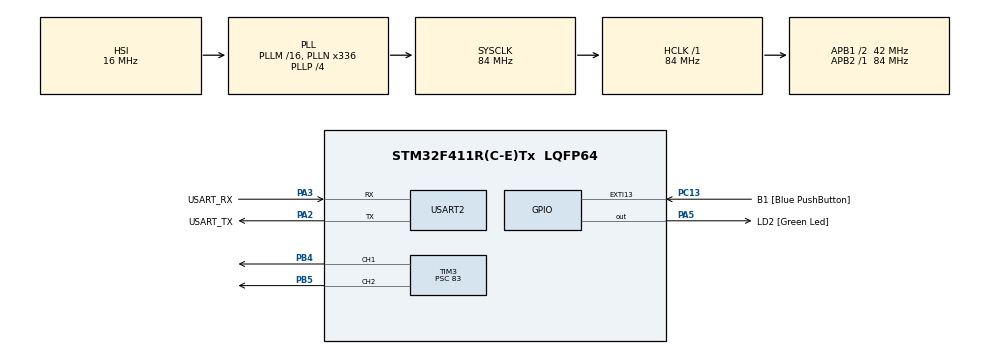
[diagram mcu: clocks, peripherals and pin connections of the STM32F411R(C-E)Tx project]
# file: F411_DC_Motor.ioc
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Mcu.Family=STM32F4
Mcu.Name=STM32F411R(C-E)Tx
Mcu.Package=LQFP64
NVIC.PriorityGroup=NVIC_PRIORITYGROUP_0
PA13.GPIO_Label=TMS
PA13.Mode=Serial_Wire
PA13.Signal=SYS_JTMS-SWDIO
PA14.GPIO_Label=TCK
PA14.Mode=Serial_Wire
PA14.Signal=SYS_JTCK-SWCLK
PA2.GPIO_Label=USART_TX
PA2.Mode=Asynchronous
PA2.Signal=USART2_TX
PA3.GPIO_Label=USART_RX
PA3.Mode=Asynchronous
PA3.Signal=USART2_RX
PA5.GPIO_Label=LD2 [Green Led]
PA5.Signal=GPIO_Output
PB3.GPIO_Label=SWO
PB3.Signal=SYS_JTDO-SWO
PB4.Signal=S_TIM3_CH1
PB5.Signal=S_TIM3_CH2
PC13-ANTI_TAMP.GPIO_Label=B1 [Blue PushButton]
PC13-ANTI_TAMP.GPIO_ModeDefaultEXTI=GPIO_MODE_IT_FALLING
PC13-ANTI_TAMP.Signal=GPXTI13
PC14-OSC32_IN.Mode=LSE-External-Oscillator
PC14-OSC32_IN.Signal=RCC_OSC32_IN
PC15-OSC32_OUT.Mode=LSE-External-Oscillator
PC15-OSC32_OUT.Signal=RCC_OSC32_OUT
PH0\ -\ OSC_IN.Mode=HSE-External-Clock-Source
PH0\ -\ OSC_IN.Signal=RCC_OSC_IN
PH1\ -\ OSC_OUT.Mode=HSE-External-Clock-Source
PH1\ -\ OSC_OUT.Signal=RCC_OSC_OUT
ProjectManager.HeapSize=0x200
ProjectManager.StackSize=0x400
ProjectManager.TargetToolchain=STM32CubeIDE
RCC.48MHZClocksFreq_Value=84000000
RCC.AHBFreq_Value=84000000
RCC.APB1CLKDivider=RCC_HCLK_DIV2
RCC.APB1Freq_Value=42000000
RCC.APB1TimFreq_Value=84000000
RCC.APB2Freq_Value=84000000
RCC.APB2TimFreq_Value=84000000
RCC.CortexFreq_Value=84000000
RCC.FLatency-AdvancedSettings=FLASH_LATENCY_2
RCC.HCLKFreq_Value=84000000
RCC.HSE_VALUE=8000000
RCC.HSI_VALUE=16000000
RCC.PLLN=336
RCC.PLLP=RCC_PLLP_DIV4
RCC.SYSCLKFreq_VALUE=84000000
RCC.SYSCLKSource=RCC_SYSCLKSOURCE_PLLCLK
RCC.VCOOutputFreq_Value=336000000
SH.S_TIM3_CH1.0=TIM3_CH1,PWM Generation1 CH1
SH.S_TIM3_CH2.0=TIM3_CH2,PWM Generation2 CH2
TIM3.Channel-PWM\ Generation1\ CH1=TIM_CHANNEL_1
TIM3.Channel-PWM\ Generation2\ CH2=TIM_CHANNEL_2
TIM3.Period=999
TIM3.Prescaler=83
USART2.VirtualMode=VM_ASYNC
VP_TIM3_VS_ClockSourceINT.Mode=Internal
board=NUCLEO-F411RE

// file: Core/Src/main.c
/* USER CODE BEGIN Header */
/**
  ******************************************************************************
  * @file           : main.c
  * @brief          : Main program body
  ******************************************************************************
  * @attention
  *
  * Copyright (c) 2023 STMicroelectronics.
  * All rights reserved.
  *
  * This software is licensed under terms that can be found in the LICENSE file
  * in the root directory of this software component.
  * If no LICENSE file comes with this software, it is provided AS-IS.
  *
  ******************************************************************************
  */
/* USER CODE END Header */
#include "main.h"
#include "tim.h"
#include "usart.h"
#include "gpio.h"

/* USER CODE BEGIN Includes */
#include "motor_control.h" // Inclure la bibliothèque pour le contrôle
/* USER CODE END Includes */

void SystemClock_Config(void);

int main(void)
{

  /* MCU Configuration--------------------------------------------------------*/

  /* Reset of all peripherals, Initializes the Flash interface and the Systick. */
  HAL_Init();

  /* Configure the system clock */
  SystemClock_Config();

  /* Initialize all configured peripherals */
  MX_GPIO_Init();
  MX_USART2_UART_Init();
  MX_TIM3_Init();
  /* USER CODE BEGIN 2 */
  // Initialiser le moteur avec la broche de contrôle et le canal PWM
   Motor_Init(&htim3, TIM_CHANNEL_1, TIM_CHANNEL_2);
  /* USER CODE END 2 */

  /* Infinite loop */
  /* USER CODE BEGIN WHILE */
  while (1)
  {
	   // Exemple d'application : Faire tourner le moteur dans les deux sens à différentes vitesses

	    // Accélération
	    for (int speed = 0; speed <= 100; speed += 1)
	    {
	        Motor_SetSpeed(speed, MOTOR_CLOCKWISE);
	        Motor_RunClockwise();
	        HAL_Delay(100); // Attendre 0.5 seconde pour simuler une accélération graduelle
	    }

	    HAL_Delay(5000); // Attendre 2 secondes
	    Motor_SetSpeed(100, MOTOR_COUNTER_CLOCKWISE);
	    HAL_Delay(500);
	    Motor_Stop(); // Arrêter le moteur
	    Motor_ApplyBrake(); // Freiner le moteur

	    HAL_Delay(5000); // Attendre 2 secondes

	    // Décélération
	    for (int speed = 100; speed >= 0; speed -= 1)
	    {
	        Motor_SetSpeed(speed, MOTOR_COUNTER_CLOCKWISE);
	        Motor_RunCounterClockwise();
	        HAL_Delay(100); // Attendre 0.5 seconde pour simuler une décélération graduelle
	    }

	    Motor_Stop(); // Arrêter le moteur
	    HAL_Delay(5000); // Attendre 2 secondes
    /* USER CODE END WHILE */

  }
}

void SystemClock_Config(void)
{
  RCC_OscInitTypeDef RCC_OscInitStruct = {0};
  RCC_ClkInitTypeDef RCC_ClkInitStruct = {0};

  /** Configure the main internal regulator output voltage
  */
  __HAL_RCC_PWR_CLK_ENABLE();
  __HAL_PWR_VOLTAGESCALING_CONFIG(PWR_REGULATOR_VOLTAGE_SCALE1);

  /** Initializes the RCC Oscillators according to the specified parameters
  * in the RCC_OscInitTypeDef structure.
  */
  RCC_OscInitStruct.OscillatorType = RCC_OSCILLATORTYPE_HSI;
  RCC_OscInitStruct.HSIState = RCC_HSI_ON;
  RCC_OscInitStruct.HSICalibrationValue = RCC_HSICALIBRATION_DEFAULT;
  RCC_OscInitStruct.PLL.PLLState = RCC_PLL_ON;
  RCC_OscInitStruct.PLL.PLLSource = RCC_PLLSOURCE_HSI;
  RCC_OscInitStruct.PLL.PLLM = 16;
  RCC_OscInitStruct.PLL.PLLN = 336;
  RCC_OscInitStruct.PLL.PLLP = RCC_PLLP_DIV4;
  RCC_OscInitStruct.PLL.PLLQ = 4;
  if (HAL_RCC_OscConfig(&RCC_OscInitStruct) != HAL_OK)
  {
    Error_Handler();
  }

  /** Initializes the CPU, AHB and APB buses clocks
  */
  RCC_ClkInitStruct.ClockType = RCC_CLOCKTYPE_HCLK|RCC_CLOCKTYPE_SYSCLK
                              |RCC_CLOCKTYPE_PCLK1|RCC_CLOCKTYPE_PCLK2;
  RCC_ClkInitStruct.SYSCLKSource = RCC_SYSCLKSOURCE_PLLCLK;
  RCC_ClkInitStruct.AHBCLKDivider = RCC_SYSCLK_DIV1;
  RCC_ClkInitStruct.APB1CLKDivider = RCC_HCLK_DIV2;
  RCC_ClkInitStruct.APB2CLKDivider = RCC_HCLK_DIV1;

  if (HAL_RCC_ClockConfig(&RCC_ClkInitStruct, FLASH_LATENCY_2) != HAL_OK)
  {
    Error_Handler();
  }
}

void Error_Handler(void)
{
  __disable_irq();
  while (1)
  {
  }
}
